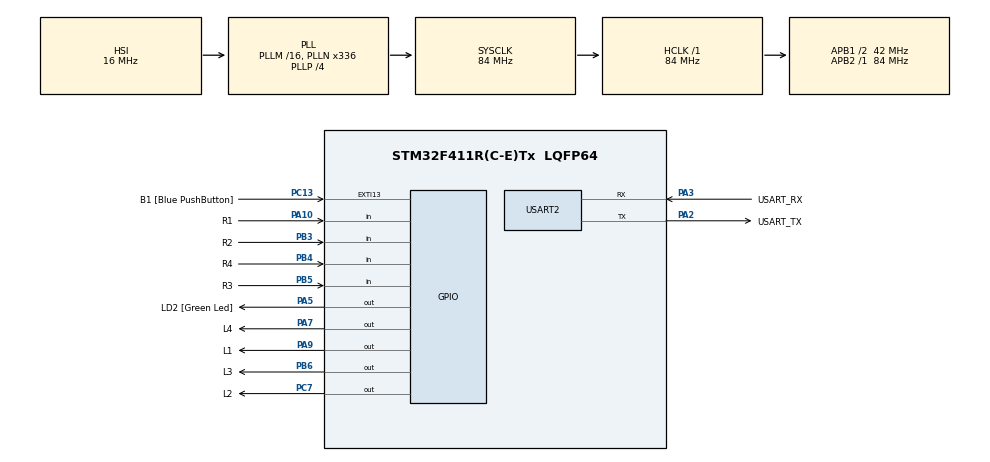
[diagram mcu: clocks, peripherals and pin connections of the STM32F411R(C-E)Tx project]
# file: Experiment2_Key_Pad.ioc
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Mcu.Family=STM32F4
Mcu.Name=STM32F411R(C-E)Tx
Mcu.Package=LQFP64
NVIC.PriorityGroup=NVIC_PRIORITYGROUP_0
PA10.GPIO_Label=R1
PA10.GPIO_Mode=GPIO_MODE_INPUT
PA10.GPIO_PuPd=GPIO_PULLUP
PA10.Signal=GPIO_Input
PA13.GPIO_Label=TMS
PA13.Mode=Serial_Wire
PA13.Signal=SYS_JTMS-SWDIO
PA14.GPIO_Label=TCK
PA14.Mode=Serial_Wire
PA14.Signal=SYS_JTCK-SWCLK
PA2.GPIO_Label=USART_TX
PA2.Mode=Asynchronous
PA2.Signal=USART2_TX
PA3.GPIO_Label=USART_RX
PA3.Mode=Asynchronous
PA3.Signal=USART2_RX
PA5.GPIO_Label=LD2 [Green Led]
PA5.Signal=GPIO_Output
PA7.GPIO_Label=L4
PA7.GPIO_ModeDefaultOutputPP=GPIO_MODE_OUTPUT_OD
PA7.GPIO_PuPd=GPIO_NOPULL
PA7.Signal=GPIO_Output
PA9.GPIO_Label=L1
PA9.GPIO_ModeDefaultOutputPP=GPIO_MODE_OUTPUT_OD
PA9.GPIO_PuPd=GPIO_NOPULL
PA9.Signal=GPIO_Output
PB3.GPIO_Label=R2
PB3.GPIO_Mode=GPIO_MODE_INPUT
PB3.GPIO_PuPd=GPIO_PULLUP
PB3.Signal=GPIO_Input
PB4.GPIO_Label=R4
PB4.GPIO_Mode=GPIO_MODE_INPUT
PB4.GPIO_PuPd=GPIO_PULLUP
PB4.Signal=GPIO_Input
PB5.GPIO_Label=R3
PB5.GPIO_Mode=GPIO_MODE_INPUT
PB5.GPIO_PuPd=GPIO_PULLUP
PB5.Signal=GPIO_Input
PB6.GPIO_Label=L3
PB6.GPIO_ModeDefaultOutputPP=GPIO_MODE_OUTPUT_OD
PB6.GPIO_PuPd=GPIO_NOPULL
PB6.Signal=GPIO_Output
PC13-ANTI_TAMP.GPIO_Label=B1 [Blue PushButton]
PC13-ANTI_TAMP.GPIO_ModeDefaultEXTI=GPIO_MODE_IT_FALLING
PC13-ANTI_TAMP.Signal=GPXTI13
PC14-OSC32_IN.Mode=LSE-External-Oscillator
PC14-OSC32_IN.Signal=RCC_OSC32_IN
PC15-OSC32_OUT.Mode=LSE-External-Oscillator
PC15-OSC32_OUT.Signal=RCC_OSC32_OUT
PC7.GPIO_Label=L2
PC7.GPIO_ModeDefaultOutputPP=GPIO_MODE_OUTPUT_OD
PC7.GPIO_PuPd=GPIO_NOPULL
PC7.Signal=GPIO_Output
PH0\ -\ OSC_IN.Mode=HSE-External-Clock-Source
PH0\ -\ OSC_IN.Signal=RCC_OSC_IN
PH1\ -\ OSC_OUT.Mode=HSE-External-Clock-Source
PH1\ -\ OSC_OUT.Signal=RCC_OSC_OUT
ProjectManager.HeapSize=0x200
ProjectManager.StackSize=0x400
ProjectManager.TargetToolchain=STM32CubeIDE
RCC.48MHZClocksFreq_Value=84000000
RCC.AHBFreq_Value=84000000
RCC.APB1CLKDivider=RCC_HCLK_DIV2
RCC.APB1Freq_Value=42000000
RCC.APB1TimFreq_Value=84000000
RCC.APB2Freq_Value=84000000
RCC.APB2TimFreq_Value=84000000
RCC.CortexFreq_Value=84000000
RCC.FLatency-AdvancedSettings=FLASH_LATENCY_2
RCC.HCLKFreq_Value=84000000
RCC.HSE_VALUE=8000000
RCC.HSI_VALUE=16000000
RCC.PLLN=336
RCC.PLLP=RCC_PLLP_DIV4
RCC.SYSCLKFreq_VALUE=84000000
RCC.SYSCLKSource=RCC_SYSCLKSOURCE_PLLCLK
RCC.VCOOutputFreq_Value=336000000
USART2.VirtualMode=VM_ASYNC
board=NUCLEO-F411RE

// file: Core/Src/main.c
/* USER CODE BEGIN Header */
/**
  ******************************************************************************
  * @file           : main.c
  * @brief          : Main program body
  ******************************************************************************
  * @attention
  *
  * Copyright (c) 2022 STMicroelectronics.
  * All rights reserved.
  *
  * This software is licensed under terms that can be found in the LICENSE file
  * in the root directory of this software component.
  * If no LICENSE file comes with this software, it is provided AS-IS.
  *
  ******************************************************************************
  */
/* USER CODE END Header */
#include "main.h"

/* USER CODE BEGIN Includes */
#include <string.h>
/* USER CODE END Includes */

UART_HandleTypeDef huart2;

/* USER CODE BEGIN PV */

//uint8_t can store 0 to 255
//uint16_t can store -32,768 to 32,767

uint16_t Buttonstate = 0; // store 4x4 button state
uint16_t MyPassword[11] = {64,1024,1024,16,4096,32,4096,4096,4096,4096,1024}; // MyPassword 63340500003
uint16_t CheckPassword[11] = {0,0,0,0,0,0,0,0,0,0,0};
uint16_t count = 0;

/* USER CODE END PV */

void SystemClock_Config(void);
static void MX_GPIO_Init(void);
static void MX_USART2_UART_Init(void);
/* USER CODE BEGIN PFP */

 // declare Function at here
void ButtonMatrixRead();
int ComparePassword(uint16_t A[], uint16_t B[]);
void UpdatePasswordinArray(uint16_t numstate);

/* USER CODE END PFP */

int main(void)
{

  /* MCU Configuration--------------------------------------------------------*/

  /* Reset of all peripherals, Initializes the Flash interface and the Systick. */
  HAL_Init();

  /* Configure the system clock */
  SystemClock_Config();

  /* Initialize all configured peripherals */
  MX_GPIO_Init();
  MX_USART2_UART_Init();

  /* Infinite loop */
  while (1)
  {

    /* USER CODE BEGIN 3 */

   // Function to read Button
   ButtonMatrixRead();

  }
  /* USER CODE END 3 */
}

void SystemClock_Config(void)
{
  RCC_OscInitTypeDef RCC_OscInitStruct = {0};
  RCC_ClkInitTypeDef RCC_ClkInitStruct = {0};

  /** Configure the main internal regulator output voltage
  */
  __HAL_RCC_PWR_CLK_ENABLE();
  __HAL_PWR_VOLTAGESCALING_CONFIG(PWR_REGULATOR_VOLTAGE_SCALE1);
  /** Initializes the RCC Oscillators according to the specified parameters
  * in the RCC_OscInitTypeDef structure.
  */
  RCC_OscInitStruct.OscillatorType = RCC_OSCILLATORTYPE_HSI;
  RCC_OscInitStruct.HSIState = RCC_HSI_ON;
  RCC_OscInitStruct.HSICalibrationValue = RCC_HSICALIBRATION_DEFAULT;
  RCC_OscInitStruct.PLL.PLLState = RCC_PLL_ON;
  RCC_OscInitStruct.PLL.PLLSource = RCC_PLLSOURCE_HSI;
  RCC_OscInitStruct.PLL.PLLM = 16;
  RCC_OscInitStruct.PLL.PLLN = 336;
  RCC_OscInitStruct.PLL.PLLP = RCC_PLLP_DIV4;
  RCC_OscInitStruct.PLL.PLLQ = 4;
  if (HAL_RCC_OscConfig(&RCC_OscInitStruct) != HAL_OK)
  {
    Error_Handler();
  }
  /** Initializes the CPU, AHB and APB buses clocks
  */
  RCC_ClkInitStruct.ClockType = RCC_CLOCKTYPE_HCLK|RCC_CLOCKTYPE_SYSCLK
                              |RCC_CLOCKTYPE_PCLK1|RCC_CLOCKTYPE_PCLK2;
  RCC_ClkInitStruct.SYSCLKSource = RCC_SYSCLKSOURCE_PLLCLK;
  RCC_ClkInitStruct.AHBCLKDivider = RCC_SYSCLK_DIV1;
  RCC_ClkInitStruct.APB1CLKDivider = RCC_HCLK_DIV2;
  RCC_ClkInitStruct.APB2CLKDivider = RCC_HCLK_DIV1;

  if (HAL_RCC_ClockConfig(&RCC_ClkInitStruct, FLASH_LATENCY_2) != HAL_OK)
  {
    Error_Handler();
  }
}

static void MX_USART2_UART_Init(void)
{

  huart2.Instance = USART2;
  huart2.Init.BaudRate = 115200;
  huart2.Init.WordLength = UART_WORDLENGTH_8B;
  huart2.Init.StopBits = UART_STOPBITS_1;
  huart2.Init.Parity = UART_PARITY_NONE;
  huart2.Init.Mode = UART_MODE_TX_RX;
  huart2.Init.HwFlowCtl = UART_HWCONTROL_NONE;
  huart2.Init.OverSampling = UART_OVERSAMPLING_16;
  if (HAL_UART_Init(&huart2) != HAL_OK)
  {
    Error_Handler();
  }

}

static void MX_GPIO_Init(void)
{
  GPIO_InitTypeDef GPIO_InitStruct = {0};

  /* GPIO Ports Clock Enable */
  __HAL_RCC_GPIOC_CLK_ENABLE();
  __HAL_RCC_GPIOH_CLK_ENABLE();
  __HAL_RCC_GPIOA_CLK_ENABLE();
  __HAL_RCC_GPIOB_CLK_ENABLE();

  /*Configure GPIO pin Output Level */
  HAL_GPIO_WritePin(GPIOA, LD2_Pin|L4_Pin|L1_Pin, GPIO_PIN_RESET);

  /*Configure GPIO pin Output Level */
  HAL_GPIO_WritePin(L2_GPIO_Port, L2_Pin, GPIO_PIN_RESET);

  /*Configure GPIO pin Output Level */
  HAL_GPIO_WritePin(L3_GPIO_Port, L3_Pin, GPIO_PIN_RESET);

  /*Configure GPIO pin : B1_Pin */
  GPIO_InitStruct.Pin = B1_Pin;
  GPIO_InitStruct.Mode = GPIO_MODE_IT_FALLING;
  GPIO_InitStruct.Pull = GPIO_NOPULL;
  HAL_GPIO_Init(B1_GPIO_Port, &GPIO_InitStruct);

  /*Configure GPIO pin : LD2_Pin */
  GPIO_InitStruct.Pin = LD2_Pin;
  GPIO_InitStruct.Mode = GPIO_MODE_OUTPUT_PP;
  GPIO_InitStruct.Pull = GPIO_NOPULL;
  GPIO_InitStruct.Speed = GPIO_SPEED_FREQ_LOW;
  HAL_GPIO_Init(LD2_GPIO_Port, &GPIO_InitStruct);

  /*Configure GPIO pins : L4_Pin L1_Pin */
  GPIO_InitStruct.Pin = L4_Pin|L1_Pin;
  GPIO_InitStruct.Mode = GPIO_MODE_OUTPUT_OD;
  GPIO_InitStruct.Pull = GPIO_NOPULL;
  GPIO_InitStruct.Speed = GPIO_SPEED_FREQ_LOW;
  HAL_GPIO_Init(GPIOA, &GPIO_InitStruct);

  /*Configure GPIO pin : L2_Pin */
  GPIO_InitStruct.Pin = L2_Pin;
  GPIO_InitStruct.Mode = GPIO_MODE_OUTPUT_OD;
  GPIO_InitStruct.Pull = GPIO_NOPULL;
  GPIO_InitStruct.Speed = GPIO_SPEED_FREQ_LOW;
  HAL_GPIO_Init(L2_GPIO_Port, &GPIO_InitStruct);

  /*Configure GPIO pin : R1_Pin */
  GPIO_InitStruct.Pin = R1_Pin;
  GPIO_InitStruct.Mode = GPIO_MODE_INPUT;
  GPIO_InitStruct.Pull = GPIO_PULLUP;
  HAL_GPIO_Init(R1_GPIO_Port, &GPIO_InitStruct);

  /*Configure GPIO pins : R2_Pin R4_Pin R3_Pin */
  GPIO_InitStruct.Pin = R2_Pin|R4_Pin|R3_Pin;
  GPIO_InitStruct.Mode = GPIO_MODE_INPUT;
  GPIO_InitStruct.Pull = GPIO_PULLUP;
  HAL_GPIO_Init(GPIOB, &GPIO_InitStruct);

  /*Configure GPIO pin : L3_Pin */
  GPIO_InitStruct.Pin = L3_Pin;
  GPIO_InitStruct.Mode = GPIO_MODE_OUTPUT_OD;
  GPIO_InitStruct.Pull = GPIO_NOPULL;
  GPIO_InitStruct.Speed = GPIO_SPEED_FREQ_LOW;
  HAL_GPIO_Init(L3_GPIO_Port, &GPIO_InitStruct);

}

/* USER CODE BEGIN 4 */

int ComparePassword(uint16_t A[], uint16_t B[]){	// for checking and return in comparision in if condition to 1 to continue the code
	 for(int i = 0; i < 11; i++) {
	   if (A[i] != B[i]) return 0; // fail to compare (compare 11 times to find the error if error don't continue compare)
	 }
	 return 1; // complete to compare (only one round to finish compare = if don't have any error can finish run)
}

void UpdatePasswordinArray(uint16_t numstate){
	if(numstate == 8){	// press clear button
		for (int i = 0;i<11;i++){	//clear all password
			CheckPassword[i] = 0;
		}
		HAL_GPIO_WritePin(LD2_GPIO_Port, LD2_Pin, GPIO_PIN_RESET);	// if you define the name of pin you can use that name = or you can you GPIOA , GPIO_PIN_5 is the same as once
		count = 0;
	}
	else if (numstate == 32768) { // press ok button
		if (ComparePassword(CheckPassword,MyPassword)){
			HAL_GPIO_WritePin(LD2_GPIO_Port, LD2_Pin, GPIO_PIN_SET);
		}
	}
	else if(numstate == 128){ // press backspace
		count--;
		CheckPassword[count] = 0;
	}
	else if (numstate != 8 && numstate != 128 && numstate != 2048 && numstate != 32768 && numstate != 16384 && numstate != 8192) { // press any button that isn't clear/backspace/ok button to store the numstate in the CheckPassword
		for (int i = 0;i<11;i++){
			if (CheckPassword[i] == 0){
				CheckPassword[i] = numstate;
				count++;
				break;
			}
		}
	}
}

// use else if for continue check in first if statement
// use if if for new check the state

// Read Button state 4x4 Button

GPIO_TypeDef *ButtonMatrixPortR[4] = {R1_GPIO_Port, R2_GPIO_Port, R3_GPIO_Port, R4_GPIO_Port};
uint16_t ButtonMatrixPinR[4] = {R1_Pin, R2_Pin, R3_Pin, R4_Pin };

GPIO_TypeDef *ButtonMatrixPortL[4] = {L1_GPIO_Port, L2_GPIO_Port, L3_GPIO_Port, L4_GPIO_Port};
uint16_t ButtonMatrixPinL[4] = {L1_Pin, L2_Pin, L3_Pin, L4_Pin };

void ButtonMatrixRead(){
	static uint32_t timeStamp = 0;
	static uint8_t CurrentL = 0;
	static uint8_t entry = 1;
	// called reader every 100 ms
	if(HAL_GetTick() - timeStamp >= 10){
		timeStamp = HAL_GetTick();
		if (Buttonstate == 0){
			entry = 1;		//rest enter
		}
		for (int i=0; i<4; i++){
			if (HAL_GPIO_ReadPin(ButtonMatrixPortR[i], ButtonMatrixPinR[i]) == GPIO_PIN_RESET){	// button is pressed
				Buttonstate |= 1 << (i + CurrentL*4);
				if (entry){	// 1 push button 1 count only in while loop
					UpdatePasswordinArray(Buttonstate);
					entry = 0;
				}
			}
			else {
				Buttonstate &= ~(1 << (i + CurrentL*4));
			}
		}
		HAL_GPIO_WritePin(ButtonMatrixPortL[CurrentL], ButtonMatrixPinL[CurrentL], GPIO_PIN_SET);
		uint8_t nextL = (CurrentL + 1) % 4;
		HAL_GPIO_WritePin(ButtonMatrixPortL[nextL], ButtonMatrixPinL[nextL], GPIO_PIN_RESET);
		CurrentL = nextL;
	}
}

/* USER CODE END 4 */

void Error_Handler(void)
{
  __disable_irq();
  while (1)
  {
  }
}
